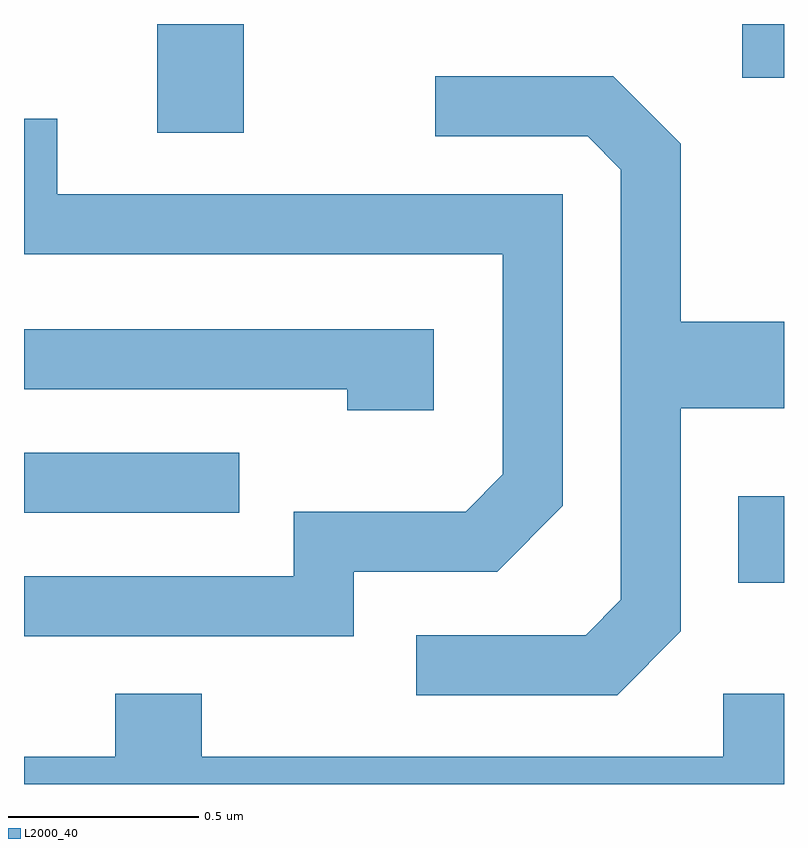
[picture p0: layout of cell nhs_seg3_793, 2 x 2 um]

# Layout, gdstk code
import gdstk
lib = gdstk.Library(unit=1e-6, precision=1e-09)
def R(c, l, rs):  # rectangles x0, y0, x1, y1
    for r in rs: c.add(gdstk.rectangle(r[:2], r[2:], *l))
def P(c, l, *ps):  # polygons
    for p in ps: c.add(gdstk.Polygon(p, *l))
L2000_40 = (2000, 40)

nhs_seg3_793 = lib.new_cell('nhs_seg3_793')
R(nhs_seg3_793, L2000_40, [(192.491,1224.421,192.611,1224.649), (190.611,1224.606,191.178,1224.764), (190.961,1225.606,191.189,1225.892), (192.501,1225.751,192.611,1225.892)])
P(nhs_seg3_793, L2000_40, [(192.339,1224.294),(192.339,1224.881),(192.611,1224.881),(192.611,1225.109),(192.339,1225.109),(192.339,1225.577),(192.162,1225.754),(191.693,1225.754),(191.693,1225.596),(192.094,1225.596),(192.181,1225.509),(192.181,1224.377),(192.089,1224.284),(191.643,1224.284),(191.643,1224.126),(192.172,1224.126)],
  [(191.479,1224.451),(191.857,1224.451),(192.029,1224.624),(192.029,1225.444),(190.699,1225.444),(190.699,1225.643),(190.611,1225.643),(190.611,1225.286),(191.871,1225.286),(191.871,1224.707),(191.774,1224.609),(191.321,1224.609),(191.321,1224.439),(190.611,1224.439),(190.611,1224.281),(191.479,1224.281)],
  [(191.689,1225.089),(190.611,1225.089),(190.611,1224.931),(191.461,1224.931),(191.461,1224.876),(191.689,1224.876)],
  [(192.611,1224.129),(192.451,1224.129),(192.451,1223.964),(191.079,1223.964),(191.079,1224.129),(190.851,1224.129),(190.851,1223.964),(190.611,1223.964),(190.611,1223.892),(192.611,1223.892)])

lib.write_gds('nhs_seg3_793.gds')
